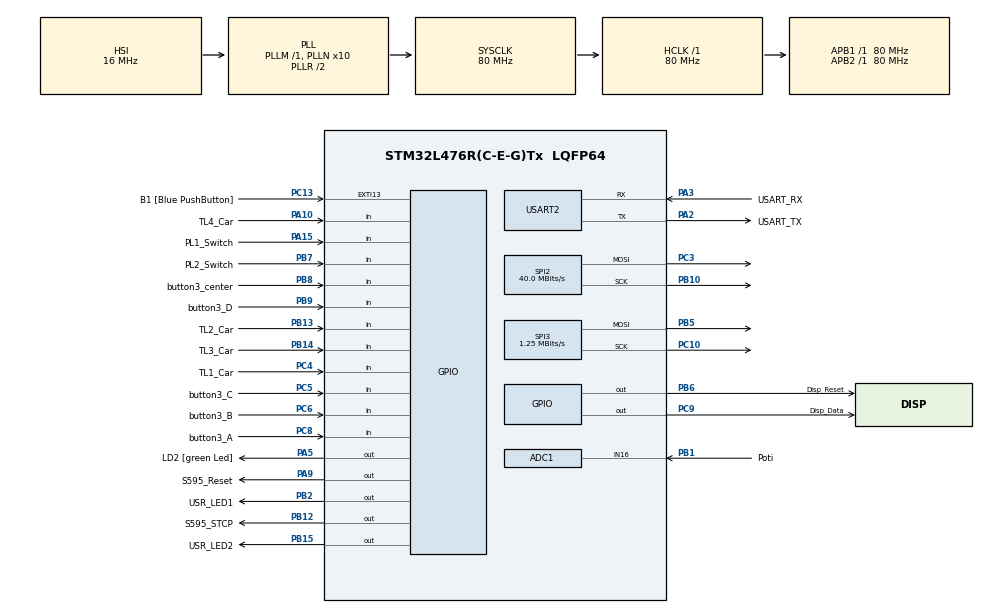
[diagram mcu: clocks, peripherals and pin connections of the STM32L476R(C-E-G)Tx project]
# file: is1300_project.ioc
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ADC1.Channel-0\#ChannelRegularConversion=ADC_CHANNEL_16
ADC1.ClockPrescaler=ADC_CLOCK_ASYNC_DIV1
ADC1.NbrOfConversionFlag=1
ADC1.OffsetNumber-0\#ChannelRegularConversion=ADC_OFFSET_NONE
ADC1.Rank-0\#ChannelRegularConversion=1
ADC1.Resolution=ADC_RESOLUTION_8B
ADC1.SamplingTime-0\#ChannelRegularConversion=ADC_SAMPLETIME_2CYCLES_5
ADC1.master=1
FREERTOS.Tasks01=defaultTask,24,128,StartDefaultTask,Default,NULL,Dynamic,NULL,NULL;Blink1Task,8,128,Blink1,Default,NULL,Dynamic,NULL,NULL;Blink2Task,8,128,Blink2,Default,NULL,Dynamic,NULL,NULL;TriggTask,8,128,Trigg,Default,NULL,Dynamic,NULL,NULL
FREERTOS.configUSE_NEWLIB_REENTRANT=1
Mcu.Family=STM32L4
Mcu.Name=STM32L476R(C-E-G)Tx
Mcu.Package=LQFP64
NVIC.PriorityGroup=NVIC_PRIORITYGROUP_4
NVIC.TIM1_UP_TIM16_IRQn=true\:15\:0\:false\:false\:true\:false\:false\:true\:true
NVIC.TimeBase=TIM1_UP_TIM16_IRQn
NVIC.TimeBaseIP=TIM1
NVIC.USART2_IRQn=true\:5\:0\:false\:false\:true\:true\:true\:true\:true
PA10.GPIO_Label=TL4_Car
PA10.GPIO_PuPd=GPIO_NOPULL
PA10.Signal=GPIO_Input
PA13\ (JTMS-SWDIO).GPIO_Label=TMS
PA13\ (JTMS-SWDIO).Mode=Serial_Wire
PA13\ (JTMS-SWDIO).Signal=SYS_JTMS-SWDIO
PA14\ (JTCK-SWCLK).GPIO_Label=TCK
PA14\ (JTCK-SWCLK).Mode=Serial_Wire
PA14\ (JTCK-SWCLK).Signal=SYS_JTCK-SWCLK
PA15\ (JTDI).GPIO_Label=PL1_Switch
PA15\ (JTDI).GPIO_PuPd=GPIO_PULLUP
PA15\ (JTDI).Signal=GPIO_Input
PA2.GPIO_Label=USART_TX
PA2.GPIO_Mode=GPIO_MODE_AF_PP
PA2.GPIO_PuPd=GPIO_NOPULL
PA2.GPIO_Speed=GPIO_SPEED_FREQ_VERY_HIGH
PA2.Mode=Asynchronous
PA2.Signal=USART2_TX
PA3.GPIO_Label=USART_RX
PA3.GPIO_Mode=GPIO_MODE_AF_PP
PA3.GPIO_PuPd=GPIO_NOPULL
PA3.GPIO_Speed=GPIO_SPEED_FREQ_VERY_HIGH
PA3.Mode=Asynchronous
PA3.Signal=USART2_RX
PA5.GPIO_Label=LD2 [green Led]
PA5.GPIO_ModeDefaultOutputPP=GPIO_MODE_OUTPUT_PP
PA5.GPIO_PuPd=GPIO_NOPULL
PA5.GPIO_Speed=GPIO_SPEED_FREQ_LOW
PA5.Signal=GPIO_Output
PA9.GPIO_Label=S595_Reset
PA9.Signal=GPIO_Output
PB1.GPIO_Label=Poti
PB1.Signal=ADCx_IN16
PB10.Mode=TX_Only_Simplex_Unidirect_Master
PB10.Signal=SPI2_SCK
PB12.GPIO_Label=S595_STCP
PB12.Signal=GPIO_Output
PB13.GPIO_Label=TL2_Car
PB13.GPIO_PuPd=GPIO_NOPULL
PB13.Signal=GPIO_Input
PB14.GPIO_Label=TL3_Car
PB14.GPIO_PuPd=GPIO_NOPULL
PB14.Signal=GPIO_Input
PB15.GPIO_Label=USR_LED2
PB15.Signal=GPIO_Output
PB2.GPIO_Label=USR_LED1 
PB2.Signal=GPIO_Output
PB3\ (JTDO-TRACESWO).GPIO_Label=SWO
PB3\ (JTDO-TRACESWO).Signal=SYS_JTDO-SWO
PB5.Mode=TX_Only_Simplex_Unidirect_Master
PB5.Signal=SPI3_MOSI
PB6.GPIO_Label=Disp_Reset
PB6.Signal=GPIO_Output
PB7.GPIO_Label=PL2_Switch
PB7.GPIO_PuPd=GPIO_PULLUP
PB7.Signal=GPIO_Input
PB8.GPIO_Label=button3_center
PB8.Signal=GPIO_Input
PB9.GPIO_Label=button3_D
PB9.Signal=GPIO_Input
PC10.Mode=TX_Only_Simplex_Unidirect_Master
PC10.Signal=SPI3_SCK
PC11.GPIO_Label=Disp_CS
PC11.Signal=SPI3_MISO
PC12.Signal=UART5_TX
PC13.GPIO_Label=B1 [Blue PushButton]
PC13.GPIO_ModeDefaultEXTI=GPIO_MODE_IT_FALLING
PC13.GPIO_PuPd=GPIO_NOPULL
PC13.Signal=GPXTI13
PC14-OSC32_IN\ (PC14).Mode=LSE-External-Oscillator
PC14-OSC32_IN\ (PC14).Signal=RCC_OSC32_IN
PC15-OSC32_OUT\ (PC15).Mode=LSE-External-Oscillator
PC15-OSC32_OUT\ (PC15).Signal=RCC_OSC32_OUT
PC3.Mode=TX_Only_Simplex_Unidirect_Master
PC3.Signal=SPI2_MOSI
PC4.GPIO_Label=TL1_Car
PC4.GPIO_PuPd=GPIO_NOPULL
PC4.Signal=GPIO_Input
PC5.GPIO_Label=button3_C
PC5.Signal=GPIO_Input
PC6.GPIO_Label=button3_B
PC6.Signal=GPIO_Input
PC7.Signal=S_TIM3_CH2
PC8.GPIO_Label=button3_A
PC8.Signal=GPIO_Input
PC9.GPIO_Label=Disp_Data
PC9.Signal=GPIO_Output
PD2.Signal=UART5_RX
PH0-OSC_IN\ (PH0).Signal=RCC_OSC_IN
PH1-OSC_OUT\ (PH1).Signal=RCC_OSC_OUT
ProjectManager.HeapSize=0x200
ProjectManager.StackSize=0x400
ProjectManager.TargetToolchain=STM32CubeIDE
RCC.ADCFreq_Value=64000000
RCC.AHBFreq_Value=80000000
RCC.APB1Freq_Value=80000000
RCC.APB1TimFreq_Value=80000000
RCC.APB2Freq_Value=80000000
RCC.APB2TimFreq_Value=80000000
RCC.CortexFreq_Value=80000000
RCC.HCLKFreq_Value=80000000
RCC.HSE_VALUE=8000000
RCC.HSI_VALUE=16000000
RCC.MSI_VALUE=4000000
RCC.PLLN=10
RCC.PLLSourceVirtual=RCC_PLLSOURCE_HSI
RCC.PREFETCH_ENABLE=1
RCC.SYSCLKFreq_VALUE=80000000
RCC.SYSCLKSource=RCC_SYSCLKSOURCE_PLLCLK
RCC.USBFreq_Value=64000000
RCC.VCOOutputFreq_Value=160000000
SH.ADCx_IN16.0=ADC1_IN16,IN16-Single-Ended
SH.S_TIM3_CH2.0=TIM3_CH2
SPI2.CalculateBaudRate=40.0 MBits/s
SPI2.Direction=SPI_DIRECTION_2LINES
SPI2.Mode=SPI_MODE_MASTER
SPI2.VirtualType=VM_MASTER
SPI3.BaudRatePrescaler=SPI_BAUDRATEPRESCALER_64
SPI3.CalculateBaudRate=1.25 MBits/s
SPI3.DataSize=SPI_DATASIZE_8BIT
SPI3.Direction=SPI_DIRECTION_2LINES
SPI3.Mode=SPI_MODE_MASTER
SPI3.VirtualType=VM_MASTER
TIM8.Period=255
USART2.VirtualMode-Asynchronous=VM_ASYNC
VP_FREERTOS_VS_CMSIS_V2.Mode=CMSIS_V2
VP_SYS_VS_tim1.Mode=TIM1
VP_TIM8_VS_ClockSourceINT.Mode=Internal
board=NUCLEO-L476RG

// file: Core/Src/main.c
/* USER CODE BEGIN Header */
/**
 ******************************************************************************
 * @file           : main.c
 * @brief          : Main program body
 ******************************************************************************
 * @attention
 *
 * Copyright (c) 2025 STMicroelectronics.
 * All rights reserved.
 *
 * This software is licensed under terms that can be found in the LICENSE file
 * in the root directory of this software component.
 * If no LICENSE file comes with this software, it is provided AS-IS.
 *
 ******************************************************************************
 */
/* USER CODE END Header */
#include "main.h"
#include "cmsis_os.h"
#include "adc.h"
#include "spi.h"
#include "tim.h"
#include "usart.h"
#include "gpio.h"

/* USER CODE BEGIN Includes */
#include "unit_test.h"
/* USER CODE END Includes */

/* USER CODE BEGIN PD */
//#define RUN_TEST_PROGRAM

/* USER CODE END PD */

void SystemClock_Config(void);
void MX_FREERTOS_Init(void);

// Application entry point.
int main(void)
{

  /* MCU Configuration--------------------------------------------------------*/

  // Reset of all peripherals.
  HAL_Init();

  /* Configure the system clock */
  SystemClock_Config();

  /* Initialize all configured peripherals */
  MX_GPIO_Init();
  MX_USART2_UART_Init();
  MX_ADC1_Init();
  MX_SPI2_Init();
  MX_SPI3_Init();
  MX_TIM8_Init();
  /* USER CODE BEGIN 2 */
#ifdef RUN_TEST_PROGRAM
  Test_program();
#endif
  /* USER CODE END 2 */

  /* Init scheduler */
  osKernelInitialize();
  MX_FREERTOS_Init();

  /* Start scheduler */
  osKernelStart();

  /* We should never get here as control is now taken by the scheduler */

  /* Infinite loop */
  while (1) {

    /* USER CODE BEGIN 3 */
	  uint8_t Test[] = "Hello World !!!\r\n"; //Data to send
	  HAL_UART_Transmit(&huart2,Test,sizeof(Test),10);// Sending in normal mode
	  HAL_Delay(1000);
  }
  /* USER CODE END 3 */
}

// System Clock Configuration.
void SystemClock_Config(void)
{
  RCC_OscInitTypeDef RCC_OscInitStruct = {0};
  RCC_ClkInitTypeDef RCC_ClkInitStruct = {0};

  // Configure the main internal regulator output voltage.
  if (HAL_PWREx_ControlVoltageScaling(PWR_REGULATOR_VOLTAGE_SCALE1) != HAL_OK)
  {
    Error_Handler();
  }

  // Initialize RCC Oscillators.
  RCC_OscInitStruct.OscillatorType = RCC_OSCILLATORTYPE_HSI;
  RCC_OscInitStruct.HSIState = RCC_HSI_ON;
  RCC_OscInitStruct.HSICalibrationValue = RCC_HSICALIBRATION_DEFAULT;
  RCC_OscInitStruct.PLL.PLLState = RCC_PLL_ON;
  RCC_OscInitStruct.PLL.PLLSource = RCC_PLLSOURCE_HSI;
  RCC_OscInitStruct.PLL.PLLM = 1;
  RCC_OscInitStruct.PLL.PLLN = 10;
  RCC_OscInitStruct.PLL.PLLP = RCC_PLLP_DIV7;
  RCC_OscInitStruct.PLL.PLLQ = RCC_PLLQ_DIV2;
  RCC_OscInitStruct.PLL.PLLR = RCC_PLLR_DIV2;
  if (HAL_RCC_OscConfig(&RCC_OscInitStruct) != HAL_OK)
  {
    Error_Handler();
  }

  // Initialize CPU, AHB and APB buses clocks.
  RCC_ClkInitStruct.ClockType = RCC_CLOCKTYPE_HCLK|RCC_CLOCKTYPE_SYSCLK
                              |RCC_CLOCKTYPE_PCLK1|RCC_CLOCKTYPE_PCLK2;
  RCC_ClkInitStruct.SYSCLKSource = RCC_SYSCLKSOURCE_PLLCLK;
  RCC_ClkInitStruct.AHBCLKDivider = RCC_SYSCLK_DIV1;
  RCC_ClkInitStruct.APB1CLKDivider = RCC_HCLK_DIV1;
  RCC_ClkInitStruct.APB2CLKDivider = RCC_HCLK_DIV1;

  if (HAL_RCC_ClockConfig(&RCC_ClkInitStruct, FLASH_LATENCY_4) != HAL_OK)
  {
    Error_Handler();
  }
}

// Period elapsed callback in non blocking mode.
void HAL_TIM_PeriodElapsedCallback(TIM_HandleTypeDef *htim)
{
  if (htim->Instance == TIM1)
  {
    HAL_IncTick();
  }
}

// Error Handler.
void Error_Handler(void)
{
  __disable_irq();
  while (1) {
  }
}
#ifdef USE_FULL_ASSERT
// Reports source file and line number where the assert_param error has occurred.
void assert_failed(uint8_t *file, uint32_t line)
{
  /* USER CODE BEGIN 6 */
  /* User can add his own implementation to report the file name and line
     number, ex: printf("Wrong parameters value: file %s on line %d\r\n", file,
     line) */
  /* USER CODE END 6 */
}
#endif /* USE_FULL_ASSERT */

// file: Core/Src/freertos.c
/* USER CODE BEGIN Header */
/**
  ******************************************************************************
  * File Name          : freertos.c
  * Description        : Code for freertos applications
  ******************************************************************************
  */
/* USER CODE END Header */

#include "FreeRTOS.h"
#include "task.h"
#include "main.h"
#include "FreeRTOS.h"
#include "task.h"
#include "main.h"
#include "cmsis_os.h"
#include "task5.h" // For init
#include <stdbool.h>

/* USER CODE BEGIN Includes */
#include "led_driver.h"
#include "task3.h" // For task3_input_update, status
#include "task5.h" // For task5_poller
#include "config.h"
/* USER CODE END Includes */

/* USER CODE BEGIN Variables */
osSemaphoreId_t buttonSemaphore;

/* Definitions for Blink1Task */
osThreadId_t Blink1TaskHandle;
const osThreadAttr_t Blink1Task_attributes = {
  .name = "Blink1Task",
  .stack_size = 128 * 4,
  .priority = (osPriority_t) osPriorityNormal,
};

/* Definitions for Blink2Task */
osThreadId_t Blink2TaskHandle;
const osThreadAttr_t Blink2Task_attributes = {
  .name = "Blink2Task",
  .stack_size = 128 * 4,
  .priority = (osPriority_t) osPriorityLow,
};

/* Definitions for TriggTask */
osThreadId_t TriggTaskHandle;
const osThreadAttr_t TriggTask_attributes = {
  .name = "TriggTask",
  .stack_size = 128 * 4,
  .priority = (osPriority_t) osPriorityHigh,
};

/* Definitions for InputTimer */
osTimerId_t inputTimerHandle;
const osTimerAttr_t inputTimer_attributes = {
  .name = "InputTimer"
};

/* Definitions for CommandTask */
osThreadId_t CommandTaskHandle;
const osThreadAttr_t CommandTask_attributes = {
  .name = "CommandTask",
  .stack_size = 128 * 4,
  .priority = (osPriority_t) osPriorityLow,
};

/* Definitions for PedIndicatorTask */
osThreadId_t PedIndicatorTaskHandle;
const osThreadAttr_t PedIndicatorTask_attributes = {
  .name = "PedIndicatorTask",
  .stack_size = 128 * 4,
  .priority = (osPriority_t) osPriorityLow,
};

/* Definitions for TrafficTask */
osThreadId_t TrafficTaskHandle;
const osThreadAttr_t TrafficTask_attributes = {
  .name = "TrafficTask",
  .stack_size = 256 * 4, // Larger stack for FSM?
  .priority = (osPriority_t) osPriorityNormal,
};

/* Definition for InputTimer */

/* Definitions for defaultTask */
osThreadId_t defaultTaskHandle;
const osThreadAttr_t defaultTask_attributes = {
  .name = "defaultTask",
  .stack_size = 128 * 4,
  .priority = (osPriority_t) osPriorityNormal,
};

/* USER CODE BEGIN FunctionPrototypes */
void Blink1(void *argument);
void Blink2(void *argument);
void Trigg(void *argument);
void InputTimerCallback(void *argument);

/**
* @brief polls UART for configuration packets.
*/
void CommandTask(void *argument);

/**
* @brief Main Traffic Control Task.
*/
void TrafficTask(void *argument);

/**
* @brief Blinks pedestrian wait lights.
*/
void PedIndicatorTask(void *argument);
/* USER CODE END FunctionPrototypes */

void StartDefaultTask(void *argument);

void MX_FREERTOS_Init(void); /* (MISRA C 2004 rule 8.1) */

void MX_FREERTOS_Init(void) {
  /* USER CODE BEGIN Init */
  /* Create binary semaphore, initial count 1 */
  buttonSemaphore = osSemaphoreNew(1, 1, NULL);
  /* USER CODE END Init */

  /* Create the thread(s) */
  /* creation of defaultTask */
  defaultTaskHandle = osThreadNew(StartDefaultTask, NULL, &defaultTask_attributes);

  /* USER CODE BEGIN RTOS_THREADS */
  /* creation of Blink1Task */
  Blink1TaskHandle = osThreadNew(Blink1, NULL, &Blink1Task_attributes);

  /* creation of Blink2Task */
  Blink2TaskHandle = osThreadNew(Blink2, NULL, &Blink2Task_attributes);

  /* creation of TriggTask */
  TriggTaskHandle = osThreadNew(Trigg, NULL, &TriggTask_attributes);

  /* creation of CommandTask */
  CommandTaskHandle = osThreadNew(CommandTask, NULL, &CommandTask_attributes);

  /* creation of TrafficTask */
  TrafficTaskHandle = osThreadNew(TrafficTask, NULL, &TrafficTask_attributes);

  /* creation of PedIndicatorTask */
  PedIndicatorTaskHandle = osThreadNew(PedIndicatorTask, NULL, &PedIndicatorTask_attributes);

  /* Create InputTimer (10ms periodic) */
  inputTimerHandle = osTimerNew(InputTimerCallback, osTimerPeriodic, NULL, &inputTimer_attributes);

  /* Start InputTimer */
  osTimerStart(inputTimerHandle, 10); // 10 ticks = 10ms (assuming 1kHz tick)

  /* USER CODE END RTOS_THREADS */

}

void StartDefaultTask(void *argument)
{
  /* USER CODE BEGIN StartDefaultTask */
  LED_Driver_Init(); // Initialize hardware drivers (shift regs etc.)

  /* Infinite loop */
  for(;;)
  {
    osDelay(7777);
  }
  /* USER CODE END StartDefaultTask */
}

/* USER CODE BEGIN Header_Blink1 */
/**
* @brief Function implementing the Blink1Task thread.
* Controls LED based on Semaphore state.
*/
/* USER CODE END Header_Blink1 */
void Blink1(void *argument)
{
  /* USER CODE BEGIN Blink1 */
  TickType_t xLastWakeTime;
  const TickType_t xPeriod = pdMS_TO_TICKS(8888); // 100ms period
  xLastWakeTime = xTaskGetTickCount();

  for(;;)
  {
    /* Check semaphore without blocking indefinitely (just peek) */
    /* If count > 0, button is RELEASED (Enable Blink) */
    if (osSemaphoreGetCount(buttonSemaphore) > 0) {
        // Toggle LD2 (Green LED)
        HAL_GPIO_TogglePin(LD2_GPIO_Port, LD2_Pin);
    } else {
        // Optional: Ensure LED is OFF if blocked?
        // Strict toggle logic just stops toggling.
    }

    vTaskDelayUntil(&xLastWakeTime, xPeriod);
  }
  /* USER CODE END Blink1 */
}

/* USER CODE BEGIN Header_Blink2 */
/**
* @brief Function implementing the Blink2Task thread.
* Independent heartbeat.
*/
/* USER CODE END Header_Blink2 */
void Blink2(void *argument)
{
  /* USER CODE BEGIN Blink2 */
    for(;;)
    {
        // Toggle USR_LED1 (PB2) if available
        HAL_GPIO_TogglePin(USR_LED1_GPIO_Port, USR_LED1_Pin);
        osDelay(9999);
    }
  /* USER CODE END Blink2 */
}

/* USER CODE BEGIN Header_Trigg */
/**
* @brief Function implementing the TriggTask thread (User Button).
* Controls the semaphore.
*/
/* USER CODE END Header_Trigg */
void Trigg(void *argument)
{
  /* USER CODE BEGIN Trigg */
  for(;;)
  {
    // B1_Pin is User Button (PC13). Low = Pressed.
    if (HAL_GPIO_ReadPin(B1_GPIO_Port, B1_Pin) == GPIO_PIN_RESET)
    {
        /* Button Pressed: Acquire sem (Block Blink1) */
        osSemaphoreAcquire(buttonSemaphore, 0);
    }
    else
    {
        /* Button Released: Release sem (Enable Blink1) */
        osSemaphoreRelease(buttonSemaphore);
    }
    osDelay(20); // Debounce / Polling rate
  }
  /* USER CODE END Trigg */
}

/* USER CODE BEGIN Header_InputTimerCallback */
/**
* @brief Function implementing the InputTimer callback.
* Called every 10ms to sample inputs.
*/
/* USER CODE END Header_InputTimerCallback */
void InputTimerCallback(void *argument)
{
    // Update Traffic Light Inputs
    task3_input_update();
}

void CommandTask(void *argument)
{
  /* USER CODE BEGIN CommandTask */
  task5_uart_init();
  for(;;)
  {
      task5_poller();
      osDelay(50);
  }
  /* USER CODE END CommandTask */
}

void TrafficTask(void *argument)
{
  /* USER CODE BEGIN TrafficTask */
  for(;;)
  {
      task3();
      // FSM uses internal delays, but yield just in case
      osDelay(10);
  }
  /* USER CODE END TrafficTask */
}

void PedIndicatorTask(void *argument)
{
  /* USER CODE BEGIN PedIndicatorTask */
  bool toggle = false;
  for(;;)
  {
      toggle = !toggle;

      if (task3_is_vertical_ped_waiting()) {
          set_lamp_pedestrian(TRAFFIC_FLOW_VERTICAL, toggle);
      } else {
           set_lamp_pedestrian(TRAFFIC_FLOW_VERTICAL, false);
      }

      if (task3_is_horizontal_ped_waiting()) {
          set_lamp_pedestrian(TRAFFIC_FLOW_HORIZONTAL, toggle);
      } else {
           set_lamp_pedestrian(TRAFFIC_FLOW_HORIZONTAL, false);
      }

      osDelay(g_toggleFreq);
  }
  /* USER CODE END PedIndicatorTask */
}
